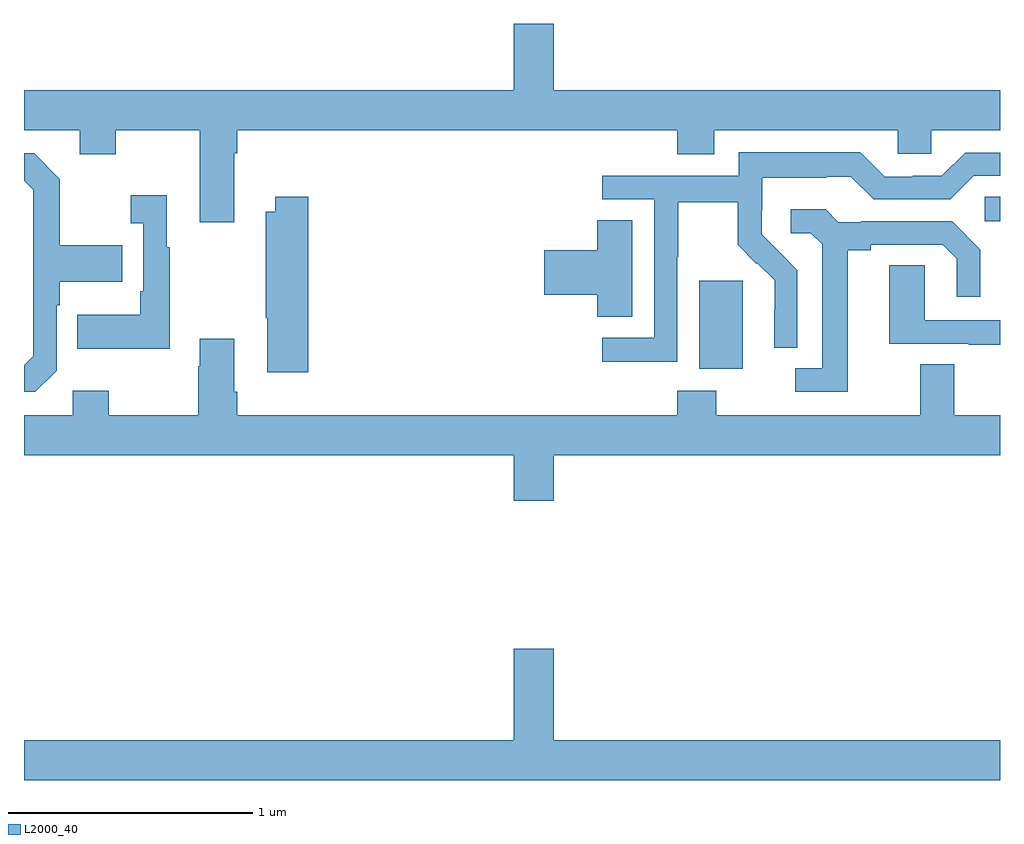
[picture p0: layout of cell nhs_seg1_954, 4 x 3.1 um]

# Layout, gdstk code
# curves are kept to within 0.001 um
import gdstk
lib = gdstk.Library(unit=1e-6, precision=1e-09)
def R(c, l, rs):  # rectangles x0, y0, x1, y1
    for r in rs: c.add(gdstk.rectangle(r[:2], r[2:], *l))
def P(c, l, *ps):  # polygons
    for p in ps: c.add(gdstk.Polygon(p, *l))
L2000_40 = (2000, 40)

nhs_seg1_954 = lib.new_cell('nhs_seg1_954')
R(nhs_seg1_954, L2000_40, [(165.767,518.786,165.946,519.147), (166.938,519.39,167,519.491)])
P(nhs_seg1_954, L2000_40, [(163,519.764),(163.229,519.764),(163.229,519.665),(163.377,519.665),(163.377,519.764),(163.721,519.764),(163.721,519.387),(163.861,519.387),(163.861,519.668),(163.874,519.668),(163.874,519.764),(165.677,519.764),(165.677,519.665),(165.829,519.665),(165.829,519.764),(166.581,519.764),(166.581,519.666),(166.719,519.666),(166.719,519.764),(167,519.764),(167,519.928),(165.172,519.928),(165.172,520.199),(165.008,520.199),(165.008,519.928),(163,519.928)],
  [(165.678,519.244),(165.681,519.244),(165.681,519.468),(165.925,519.468),(165.925,519.293),(166.002,519.216),(166.005,519.219),(166.076,519.149),(166.076,519.026),(166.074,519.026),(166.074,518.872),(166.17,518.872),(166.17,519.19),(166.024,519.338),(166.024,519.435),(166.026,519.435),(166.026,519.569),(166.289,519.569),(166.289,519.573),(166.389,519.573),(166.482,519.48),(166.797,519.48),(166.893,519.576),(167,519.576),(167,519.672),(166.857,519.672),(166.761,519.576),(166.643,519.576),(166.643,519.573),(166.527,519.573),(166.427,519.673),(165.93,519.673),(165.93,519.576),(165.369,519.576),(165.369,519.48),(165.582,519.48),(165.582,518.913),(165.369,518.913),(165.369,518.815),(165.678,518.815)],
  [(163.134,518.778),(163.134,519.047),(163.147,519.047),(163.147,519.143),(163.403,519.143),(163.403,519.291),(163.147,519.291),(163.147,519.563),(163.041,519.669),(163,519.669),(163,519.557),(163.038,519.519),(163.038,518.838),(163,518.8),(163,518.691),(163.047,518.691)],
  [(163.597,519.283),(163.585,519.283),(163.585,519.496),(163.437,519.496),(163.437,519.383),(163.488,519.383),(163.488,519.103),(163.476,519.103),(163.476,519.007),(163.219,519.007),(163.219,518.867),(163.597,518.867)],
  [(164.165,519.49),(164.03,519.49),(164.03,519.43),(163.99,519.43),(163.99,518.995),(163.997,518.995),(163.997,518.772),(164.165,518.772)],
  [(166.375,519.272),(166.471,519.272),(166.471,519.294),(166.766,519.294),(166.823,519.237),(166.823,519.081),(166.92,519.081),(166.92,519.274),(166.804,519.39),(166.432,519.39),(166.432,519.387),(166.338,519.387),(166.286,519.439),(166.143,519.439),(166.143,519.342),(166.224,519.342),(166.271,519.295),(166.271,518.787),(166.161,518.787),(166.161,518.691),(166.375,518.691)],
  [(165.493,519.395),(165.35,519.395),(165.35,519.272),(165.132,519.272),(165.132,519.089),(165.35,519.089),(165.35,518.998),(165.493,518.998)],
  [(167,518.985),(166.692,518.985),(166.692,519.209),(166.547,519.209),(166.547,518.889),(166.871,518.889),(166.871,518.885),(167,518.885)],
  [(165.172,518.432),(167,518.432),(167,518.596),(166.813,518.596),(166.813,518.804),(166.673,518.804),(166.673,518.596),(165.837,518.596),(165.837,518.695),(165.677,518.695),(165.677,518.596),(163.874,518.596),(163.874,518.692),(163.861,518.692),(163.861,518.908),(163.721,518.908),(163.721,518.795),(163.714,518.795),(163.714,518.596),(163.347,518.596),(163.347,518.695),(163.2,518.695),(163.2,518.596),(163,518.596),(163,518.432),(165.008,518.432),(165.008,518.244),(165.172,518.244)],
  [(167,517.264),(165.172,517.264),(165.172,517.639),(165.008,517.639),(165.008,517.264),(163,517.264),(163,517.1),(167,517.1)])

lib.write_gds('nhs_seg1_954.gds')
